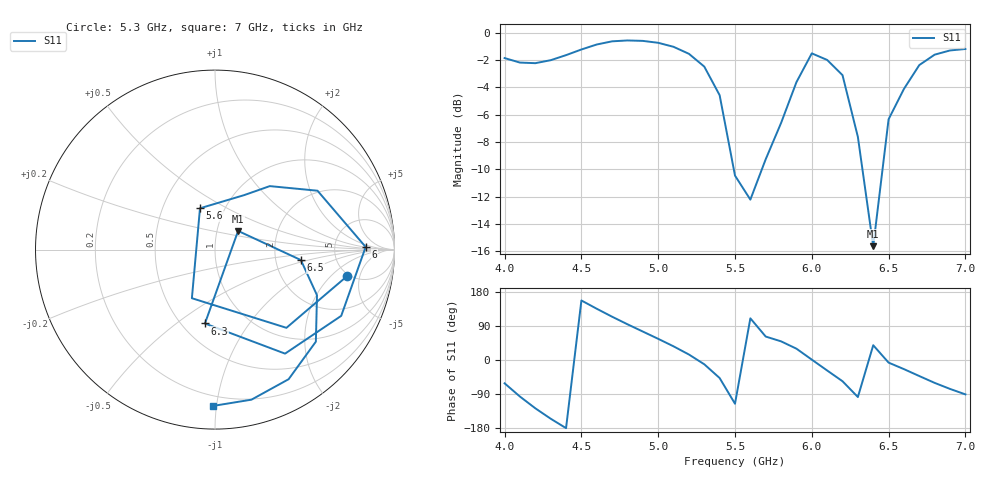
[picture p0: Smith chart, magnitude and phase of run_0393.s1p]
! Touchstone file exported from HFSS 2024.2.0
!  File:  C:/Users/wsak9/Desktop/Sim Fast/Widenad Patch/WP_AI_V1_sweep.aedt
!  Generated:  07:52:06 AM Oct 14, 2026
!  Design:  A1_model
!  Project:  WP_AI_V1_sweep
!  Setup:  Setup1
!  Solution:  Sweep
! Variables:
!  Air_gap = 1.88mm
!  Curve_Amp1 = 3.54
!  Curve_len1 = 1
!  Curve_pos = 9.795mm
!  Extra = 3.01mm
!  H_sub = 0.79mm
!  L_Patch = 15.59mm
!  L_Patch1 = 19.87mm
!  Sx = 4.83mm
!  Sy = 0.42mm
!  WS = 1.42mm
!  W_Patch = 15.04mm
!  W_Patch1 = 16.86mm
!Data is not renormalized
# GHz S MA
! Terminal data exported
! Port[1] = 1
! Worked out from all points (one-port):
!   31 points, 4 GHz to 7 GHz, reference per port
!   lowest |S11| = -15.6 dB at 6.4 GHz (marker M1), VSWR 1.40
!   |S11| at or under -10 dB: 5.492 GHz to 5.675 GHz (182.9 MHz wide, 3.28 % of centre); 6.33 GHz to 6.461 GHz (130.9 MHz wide, 2.05 % of centre)
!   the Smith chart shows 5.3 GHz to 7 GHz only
!   S11 on the Smith chart (normalised r, x): 5.3 GHz: 4.78, -3.23; 5.6 GHz: 0.77, +0.38; 6 GHz: 11, +1; 6.3 GHz: 0.64, -0.64; 6.5 GHz: 2.79, -0.42; 7 GHz: 0.14, -0.98
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4  0.8068 -61.5
4.1  0.7768 -96.5
4.2  0.773 -127.5
4.3  0.7926 -155.0
4.4  0.8271 -179.8
4.5  0.8674 157.1
4.6  0.9047 135.2
4.7  0.9292 114.2
4.8  0.936 94.2
4.9  0.9325 75.0
5  0.9176 55.8
5.1  0.8872 36.0
5.2  0.8363 14.5
5.3  0.751 -11.3
5.4  0.5902 -47.6
5.5  0.2999 -115.4
5.6  0.245 110.0
5.8  0.4672 49.2
5.9  0.6587 29.9
6  0.8395 1.0
6.1  0.7942 -27.7
6.2  0.6988 -56.0
6.3  0.4154 -97.7
6.4  0.1655 39.0
6.5  0.482 -6.9
6.7  0.7608 -42.4
6.8  0.8305 -60.4
7  0.8711 -90.7
